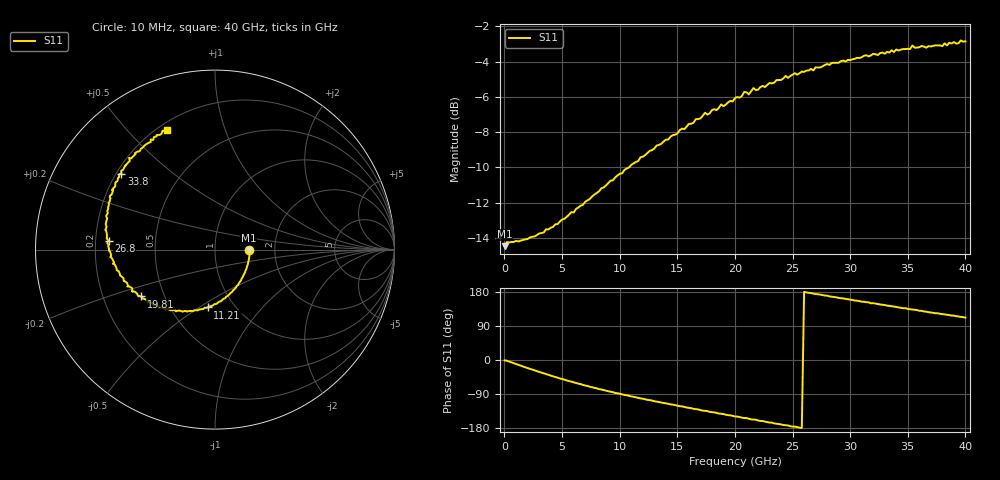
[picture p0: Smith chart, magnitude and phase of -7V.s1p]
!Agilent Technologies,N5227A,US51270434,A.10.00.00
!Agilent N5227A: A.10.00.00
!Date: Monday, January 26, 2026 17:31:17
!Correction: S11(Full 1 Port(1))
!S1P File: Measurement: S11:
# Hz S  dB  R 50
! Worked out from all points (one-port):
!   201 points, 10 MHz to 40 GHz, reference 50 ohm
!   lowest |S11| = -14.5 dB at 10 MHz (marker M1), VSWR 1.47, Z = 73.3 - j0.426 ohm
!   |S11| at or under -10 dB: start of sweep to 10.82 GHz
!   S11 on the Smith chart (normalised r, x): 10 MHz: 1.47, -0.01; 11.21 GHz: 0.76, -0.54; 19.81 GHz: 0.37, -0.25; 26.8 GHz: 0.25, +0.04; 33.8 GHz: 0.22, +0.34; 40 GHz: 0.23, +0.65
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1e7  -14.47 -0.9
2.4094e9  -13.94 -25.1
5.00875e9  -12.96 -50.1
7.2082e9  -11.87 -68.5
1.00075e10  -10.37 -89.1
1.12072e10  -9.78 -97.0
1.32067e10  -8.76 -109.7
1.500625e10  -8.08 -120.6
1.740565e10  -6.91 -134.0
1.980505e10  -6.27 -147.5
2.0005e10  -6.07 -148.9
2.04049e10  -6.05 -150.5
2.08048e10  -5.73 -153.3
2.12047e10  -5.87 -155.0
2.16046e10  -5.51 -157.2
2.180455e10  -5.62 -157.4
2.300425e10  -5.22 -165.0
2.500375e10  -4.74 -175.6
2.68033e10  -4.51 175.3
2.8003e10  -4.14 169.8
3.00025e10  -3.92 159.1
3.2002e10  -3.56 150.0
3.380155e10  -3.46 141.0
3.500125e10  -3.28 134.8
3.620095e10  -3.12 129.7
3.80005e10  -3.13 120.9
3.900025e10  -2.90 117.0
4e10  -2.85 111.8
